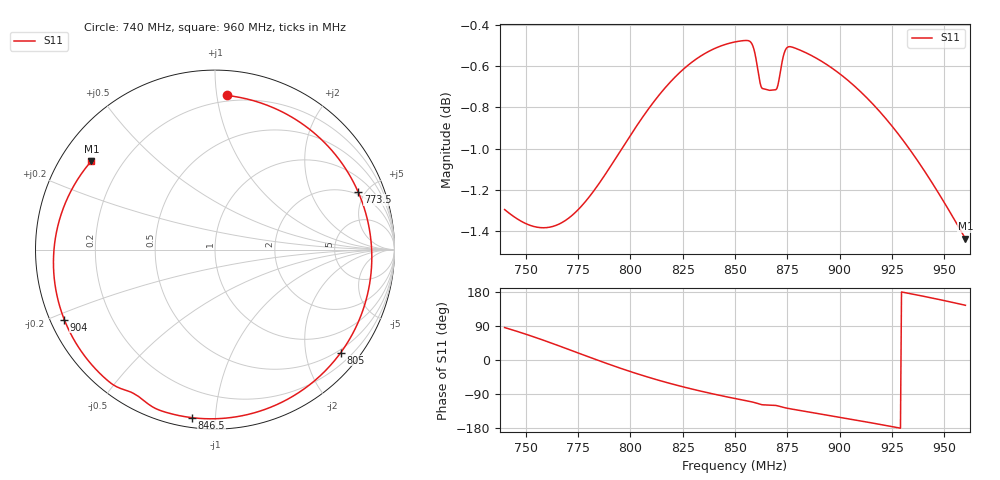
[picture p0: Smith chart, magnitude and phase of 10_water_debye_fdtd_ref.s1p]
! ISAC_868 Rev E.5 3D-FDTD Reference S11 at /BR_Q (10_Water_Film_on_Window (eps*=79.9-j3.81))
! Reference plane: /BR_Q (includes C_M1=3.6p, L_M1=8.2n||C_MZ=0.5p, C_M2=4.3p elliptic Pi-filter)
! Unloaded AE1 f0 = 776.0 MHz | Standalone |S11(866.5)| = -0.46 dB | Cascaded |S11(866.5)| = -0.72 dB
# GHz S RI R 50.0
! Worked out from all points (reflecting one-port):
!   442 points, 740 MHz to 960 MHz, reference 50 ohm
!   lowest |S11| = -1.4 dB at 960 MHz (marker M1), VSWR 12.11, Z = 4.55 + j15.9 ohm
!   phase of S11 starts at 86 deg and turns -301 deg over the sweep
!   S11 on the Smith chart (normalised r, x): 740 MHz: 0.16, +1.07; 773.5 MHz: 1.82, +4.46; 805 MHz: 0.43, -2.74; 846.5 MHz: 0.05, -0.87; 904 MHz: 0.04, -0.22; 960 MHz: 0.09, +0.32
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0.74  0.0657 0.8589
0.747  0.2401 0.8219
0.754  0.4149 0.7456
0.7605  0.5671 0.6369
0.7675  0.7071 0.481
0.7735  0.7977 0.3206
0.779  0.8511 0.1587
0.784  0.8724 0.0057
0.7895  0.8657 -0.1619
0.795  0.8294 -0.3217
0.805  0.7007 -0.5738
0.8135  0.5473 -0.737
0.8225  0.3628 -0.8551
0.834  0.1205 -0.9311
0.8465  -0.1271 -0.9366
0.85  -0.1915 -0.9265
0.8575  -0.3221 -0.8895
0.8631  -0.4351 -0.8126
0.8695  -0.4595 -0.7983
0.874  -0.5565 -0.7597
0.8775  -0.6047 -0.724
0.891  -0.745 -0.5668
0.904  -0.8396 -0.3902
0.905  -0.8452 -0.3757
0.919  -0.8954 -0.1625
0.9325  -0.8904 0.0569
0.946  -0.8255 0.2787
0.96  -0.6889 0.4935
